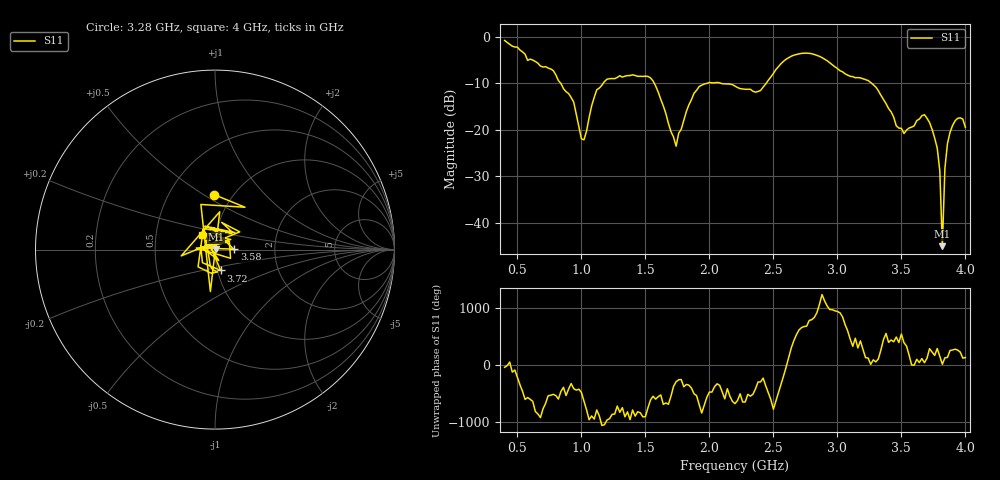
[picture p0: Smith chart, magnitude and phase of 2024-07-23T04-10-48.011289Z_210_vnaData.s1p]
!Created with skrf (http://scikit-rf.org).
# Hz S RI R 50.0
!freq ReS11 ImS11
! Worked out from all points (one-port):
!   181 points, 400 MHz to 4 GHz, reference 50 ohm
!   lowest |S11| = -45.0 dB at 3.82 GHz (marker M1), VSWR 1.01, Z = 50.5 + j0.136 ohm
!   |S11| at or under -10 dB: 1.569 GHz to 1.98 GHz (410.8 MHz wide, 23.1 % of centre); 2.092 GHz to 2.443 GHz (351.2 MHz wide, 15.5 % of centre); 3.268 GHz to end of sweep (the widest 3 of 4)
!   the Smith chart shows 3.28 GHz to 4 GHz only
!   S11 on the Smith chart (normalised r, x): 3.28 GHz: 0.82, +0.56; 3.58 GHz: 1.24, +0.01; 3.72 GHz: 1.03, -0.24; 4 GHz: 0.86, +0.14
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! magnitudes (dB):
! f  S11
! 400 MHz  -0.8
! 780 MHz  -7.2
! 860 MHz  -11.1
! 940 MHz  -14.0
! 1.02 GHz  -22.1
! 1.12 GHz  -11.4
! 1.3 GHz  -8.4
! 1.54 GHz  -8.8
! 1.74 GHz  -23.5
! 1.76 GHz  -20.7
! 1.92 GHz  -10.7
! 2.2 GHz  -10.6
! 2.4 GHz  -11.5
! 2.66 GHz  -3.9
! 3.1 GHz  -8.5
! 3.28 GHz  -10.3
! 3.46 GHz  -19.1
! 3.56 GHz  -19.6
! 3.58 GHz  -19.4
! 3.68 GHz  -16.7
! 3.72 GHz  -18.4
! 3.78 GHz  -23.9
! 3.8 GHz  -28.8
! 3.82 GHz  -45.0
! 3.84 GHz  -28.2
! 3.86 GHz  -22.9
! 3.94 GHz  -17.5
! 4 GHz  -19.5
